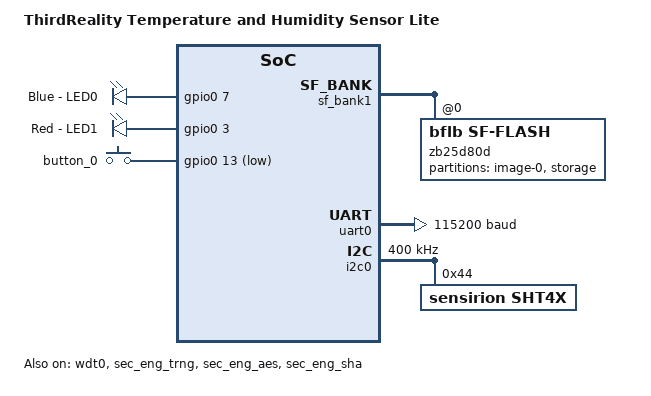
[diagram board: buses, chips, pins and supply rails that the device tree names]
/*
 * Copyright (c) 2025-2026 MASSDRIVER EI (massdriver.space)
 * SPDX-License-Identifier: Apache-2.0
 */

/dts-v1/;

#include <bflb/bl704l.dtsi>
#include "3r_tnh_sensor_lite-pinctrl.dtsi"

/ {
	model = "ThirdReality Temperature and Humidity Sensor Lite";
	compatible = "bflb,bl704l";

	chosen {
		zephyr,flash = &zb25d80d;
		zephyr,flash-controller = &sf_bank1;
		zephyr,code-partition = &slot0_partition;
		zephyr,itcm = &itcm;
		zephyr,sram = &sram0;
		zephyr,console = &uart0;
		zephyr,shell-uart = &uart0;
		zephyr,entropy = &sec_eng_trng;
	};

	aliases {
		led0 = &blue_led;
		led1 = &red_led;
		pwm-led0 = &pwm_led_blue;
		pwm-led1 = &pwm_led_red;
		sw0 = &button_0;
		watchdog0 = &wdt0;
	};

	leds {
		compatible = "gpio-leds";

		blue_led: led_0 {
			gpios = <&gpio0 7 GPIO_ACTIVE_HIGH>;
			label = "Blue - LED0";
		};

		red_led: led_1 {
			gpios = <&gpio0 3 GPIO_ACTIVE_HIGH>;
			label = "Red - LED1";
		};
	};

	buttons {
		compatible = "gpio-keys";

		button_0: sw0 {
			gpios = <&gpio0 13 GPIO_ACTIVE_LOW>;
			zephyr,code = <INPUT_KEY_0>;
		};
	};

	pwmleds: pwmleds {
		compatible = "pwm-leds";
		status = "disabled";

		pwm_led_blue: pwm_led_blue {
			pwms = <&pwm1 1 PWM_MSEC(1) PWM_POLARITY_INVERTED>;
			label = "Blue LED PWM";
		};

		pwm_led_red: pwm_led_red {
			pwms = <&pwm1 2 PWM_MSEC(1) PWM_POLARITY_INVERTED>;
			label = "Red LED PWM";
		};
	};
};

&cpu0 {
	clock-frequency = <DT_FREQ_M(128)>;
};

&sf_bank1 {
	reg = <0x23000000 DT_SIZE_K(1024)>;
	ranges = <0x0 0x23000000 DT_SIZE_K(1024)>;

	zb25d80d: flash@0 {
		compatible = "bflb,sf-flash", "soc-nv-flash";
		reg = <0 DT_SIZE_K(1024)>;
		write-block-size = <1>;
		erase-block-size = <DT_SIZE_K(4)>;

		/* Only Dual mode :( */
		spi-bus-mode = <1>;
		sf-pad = <1>;
		jedec-id = [5e 32 14];

		partitions {
			#address-cells = <1>;
			#size-cells = <1>;

			slot0_partition: partition@0 {
				compatible = "zephyr,mapped-partition";
				label = "image-0";
				reg = <0x00000000 (DT_SIZE_K(900) - 0x2000)>;
				read-only;
			};

			storage_partition: partition@e1000 {
				compatible = "zephyr,mapped-partition";
				label = "storage";
				reg = <0x000e1000 DT_SIZE_K(124)>;
			};
		};
	};
};

&gpio0 {
	status = "okay";
};

&uart0 {
	status = "okay";
	current-speed = <115200>;

	pinctrl-0 = <&uart0_default>;
	pinctrl-1 = <&uart0_sleep>;
	pinctrl-names = "default", "sleep";
};

&i2c0 {
	status = "okay";
	clock-frequency = <I2C_BITRATE_FAST>;

	pinctrl-0 = <&i2c0_default>;
	pinctrl-names = "default";

	sht4x@44 {
		compatible = "sensirion,sht4x";
		reg = <0x44>;
		repeatability = <2>;
	};
};

&wdt0 {
	status = "okay";
};

&sec_eng_trng {
	status = "okay";
};

&sec_eng_aes {
	status = "okay";
};

&sec_eng_sha {
	status = "okay";
};
